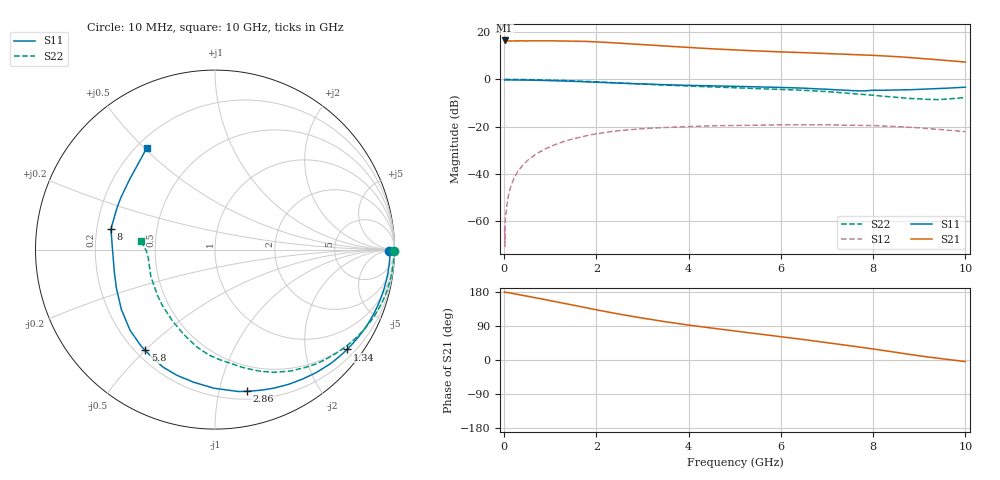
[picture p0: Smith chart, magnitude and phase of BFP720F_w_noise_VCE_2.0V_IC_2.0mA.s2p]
! Infineon Technologies  Discrete & RF Semiconductors
! BFP720F
! VCE =  2.0 V,  IC =  2.0 mA
! Common Emitter S-Parameters:  Jan 2016
# GHz  S  MA  R  50
!  f  S11  S21  S12  S22
! GHz  MAG  ANG  MAG  ANG  MAG  ANG  MAG  ANG
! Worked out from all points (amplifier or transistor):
!   233 points, 10 MHz to 10 GHz, reference 50 ohm
!   highest |S21| = 16.4 dB at 10 MHz (marker M1)
!   |S21| within 3 dB of that: start of sweep to 4.042 GHz
!   unconditionally stable (mu >= 1): 9.496 GHz to end of sweep
!   at 200 MHz: K = 0.01, MSG = 29.3 dB, |S12| = -42.4 dB
!   at 1.74 GHz: K = 0.14, MSG = 20.0 dB, |S12| = -24.0 dB
!   at 10 GHz: K = 1.02, MAG = 13.9 dB, |S12| = -22.1 dB
!   lowest NFmin = 0.43 dB at 450 MHz
!   S11 on the Smith chart (normalised r, x): 10 MHz: 67, -12; 1.34 GHz: 0.39, -2.93; 2.86 GHz: 0.27, -1.21; 5.8 GHz: 0.24, -0.50; 8 GHz: 0.26, +0.09; 10 GHz: 0.24, +0.51
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0.01  0.9714 -0.3  6.639 179.7  0.0007 -39.6  0.9968 -0.3
0.015  0.9739 -0.4  6.517 179.0  0.0003 45.7  0.9984 -0.7
0.02  0.9764 -0.5  6.396 178.2  0.0009 96.5  1 -1.0
0.085  0.9753 -2.3  6.477 177.8  0.0032 89.7  0.9981 -1.7
0.17  0.9741 -4.5  6.492 175.9  0.0065 86.8  0.9979 -3.4
0.32  0.9715 -8.6  6.498 172.5  0.0122 84.0  0.9938 -6.4
0.8  0.9548 -21.8  6.546 161.5  0.0305 74.4  0.9798 -16.1
1.34  0.9226 -37.1  6.447 148.5  0.0503 62.9  0.9457 -27.2
1.68  0.8963 -47.0  6.382 140.2  0.0615 55.5  0.9164 -34.5
2.2  0.8557 -61.3  6.064 127.8  0.076 44.5  0.8677 -44.9
2.54  0.8296 -69.8  5.789 120.1  0.0834 37.7  0.836 -51.0
2.86  0.8088 -77.4  5.539 113.4  0.0889 32.0  0.8065 -56.1
3.4  0.7763 -88.5  5.135 102.8  0.0957 23.2  0.764 -63.3
4  0.7482 -99.2  4.728 92.1  0.1012 14.7  0.7232 -69.6
5.1  0.7106 -115.3  4.146 75.0  0.1069 1.4  0.66 -78.9
5.8  0.6829 -124.7  3.868 64.5  0.1089 -6.4  0.624 -85.2
6.8  0.6296 -143.0  3.573 49.0  0.1097 -17.6  0.5657 -97.5
7.4  0.5899 -158.6  3.388 39.2  0.1083 -24.5  0.5153 -107.6
8  0.591 168.9  3.218 29.1  0.1057 -31.6  0.4626 -120.8
8.4  0.5934 157.1  3.07 21.9  0.1022 -36.7  0.4267 -133.7
9  0.6152 140.9  2.799 11.0  0.0944 -43.9  0.3877 -157.2
10  0.6832 123.7  2.323 -4.2  0.0787 -52.0  0.4147 173.6
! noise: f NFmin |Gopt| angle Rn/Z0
0.45  0.43  0.69  4  0.26
0.9  0.5  0.69  12  0.28
1.8  0.54  0.67  25  0.22
2.4  0.57  0.66  31  0.22
5.5  0.87  0.48  86  0.15
10  1.3  0.32  -135  0.15
